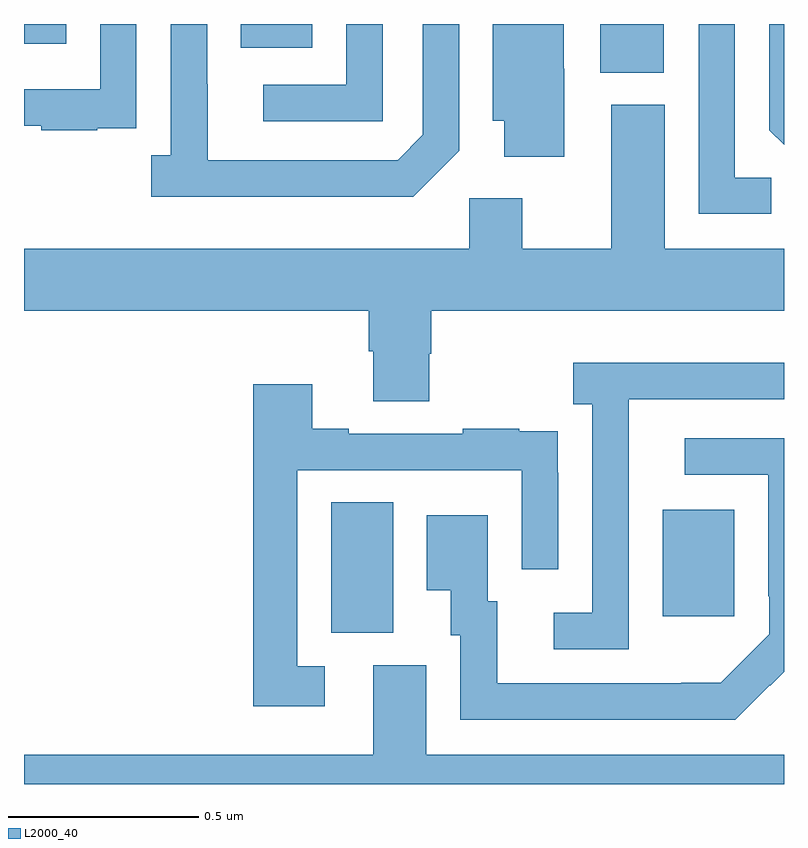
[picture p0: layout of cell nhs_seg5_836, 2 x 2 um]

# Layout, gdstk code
import gdstk
lib = gdstk.Library(unit=1e-6, precision=1e-09)
def R(c, l, rs):  # rectangles x0, y0, x1, y1
    for r in rs: c.add(gdstk.rectangle(r[:2], r[2:], *l))
def P(c, l, *ps):  # polygons
    for p in ps: c.add(gdstk.Polygon(p, *l))
L2000_40 = (2000, 40)

nhs_seg5_836 = lib.new_cell('nhs_seg5_836')
R(nhs_seg5_836, L2000_40, [(121.808,905.197,121.972,905.54), (122.681,905.241,122.869,905.521), (122.516,906.671,122.683,906.799), (121.571,906.737,121.759,906.799), (121,906.747,121.111,906.799)])
P(nhs_seg5_836, L2000_40, [(122.422,906.681),(122.421,906.681),(122.421,906.799),(122.234,906.799),(122.234,906.545),(122.264,906.545),(122.264,906.45),(122.422,906.45)],
  [(121.944,906.799),(121.848,906.799),(121.848,906.639),(121.629,906.639),(121.629,906.543),(121.944,906.543)],
  [(122.967,906.395),(122.871,906.395),(122.871,906.799),(122.775,906.799),(122.775,906.3),(122.967,906.3)],
  [(122.145,906.465),(122.145,906.799),(122.049,906.799),(122.049,906.507),(121.983,906.441),(121.483,906.441),(121.483,906.641),(121.482,906.641),(121.482,906.799),(121.386,906.799),(121.386,906.454),(121.335,906.454),(121.335,906.344),(122.024,906.344)],
  [(121.193,906.525),(121.295,906.525),(121.295,906.634),(121.296,906.634),(121.296,906.799),(121.2,906.799),(121.2,906.627),(121,906.627),(121,906.531),(121.045,906.531),(121.045,906.519),(121.193,906.519)],
  [(123,906.799),(122.961,906.799),(122.961,906.52),(123,906.481)],
  [(121,906.044),(121.907,906.044),(121.907,905.938),(121.919,905.938),(121.919,905.806),(122.067,905.806),(122.067,905.931),(122.072,905.931),(122.072,906.044),(123,906.044),(123,906.208),(122.686,906.208),(122.686,906.586),(122.546,906.586),(122.546,906.208),(122.311,906.208),(122.311,906.34),(122.172,906.34),(122.172,906.208),(121,906.208)],
  [(122.592,905.811),(123,905.811),(123,905.908),(122.445,905.908),(122.445,905.798),(122.496,905.798),(122.496,905.25),(122.394,905.25),(122.394,905.154),(122.592,905.154)],
  [(121.792,905.109),(121.719,905.109),(121.719,905.625),(122.31,905.625),(122.31,905.364),(122.406,905.364),(122.406,905.618),(122.405,905.618),(122.405,905.727),(122.303,905.727),(122.303,905.734),(122.155,905.734),(122.155,905.721),(121.855,905.721),(121.855,905.734),(121.759,905.734),(121.759,905.851),(121.603,905.851),(121.603,905.004),(121.792,905.004)],
  [(122.963,905.059),(122.964,905.058),(123,905.094),(123,905.709),(122.739,905.709),(122.739,905.613),(122.958,905.613),(122.958,905.293),(122.961,905.293),(122.961,905.193),(122.833,905.065),(122.729,905.065),(122.729,905.064),(122.245,905.064),(122.245,905.28),(122.221,905.28),(122.221,905.506),(122.06,905.506),(122.06,905.309),(122.123,905.309),(122.123,905.19),(122.148,905.19),(122.148,904.968),(122.872,904.968)],
  [(123,904.876),(122.059,904.876),(122.059,905.112),(121.919,905.112),(121.919,904.876),(121,904.876),(121,904.799),(123,904.799)])

lib.write_gds('nhs_seg5_836.gds')
